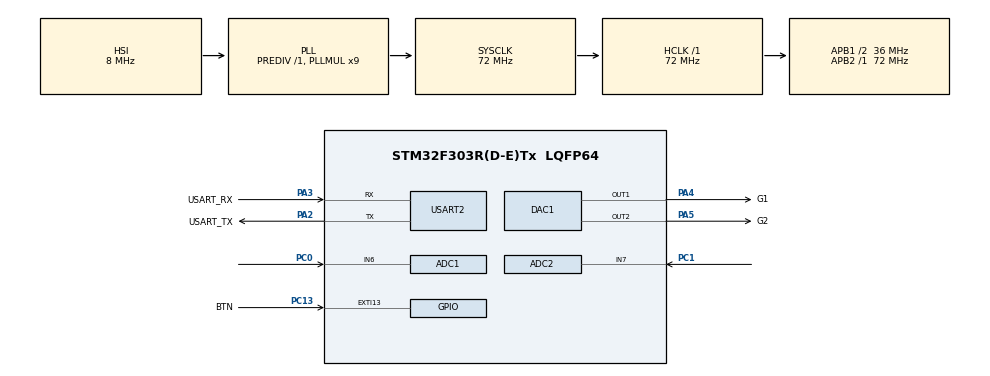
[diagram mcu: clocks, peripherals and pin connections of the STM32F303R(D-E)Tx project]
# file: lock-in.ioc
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ADC1.Channel-1\#ChannelRegularConversion=ADC_CHANNEL_6
ADC1.DMAContinuousRequests=ENABLE
ADC1.ExternalTrigConv=ADC_EXTERNALTRIGCONV_T15_TRGO
ADC1.Mode=ADC_DUALMODE_REGSIMULT_ALTERTRIG
ADC1.NbrOfConversion=1
ADC1.NbrOfConversionFlag=1
ADC1.Offset-1\#ChannelRegularConversion=0
ADC1.OffsetNumber-1\#ChannelRegularConversion=ADC_OFFSET_NONE
ADC1.Rank-1\#ChannelRegularConversion=1
ADC1.SamplingTime-1\#ChannelRegularConversion=ADC_SAMPLETIME_1CYCLE_5
ADC1.master=1
ADC2.Channel-4\#ChannelRegularConversion=ADC_CHANNEL_7
ADC2.Mode=ADC_DUALMODE_REGSIMULT_ALTERTRIG
ADC2.NbrOfConversionFlag=1
ADC2.Offset-4\#ChannelRegularConversion=0
ADC2.OffsetNumber-4\#ChannelRegularConversion=ADC_OFFSET_NONE
ADC2.Rank-4\#ChannelRegularConversion=1
ADC2.SamplingTime-4\#ChannelRegularConversion=ADC_SAMPLETIME_1CYCLE_5
DAC1.DAC_Trigger=DAC_TRIGGER_T6_TRGO
DAC1.DAC_Trigger2=DAC_TRIGGER_T7_TRGO
Dma.ADC1.2.Direction=DMA_PERIPH_TO_MEMORY
Dma.ADC1.2.Instance=DMA1_Channel1
Dma.ADC1.2.MemDataAlignment=DMA_MDATAALIGN_WORD
Dma.ADC1.2.MemInc=DMA_MINC_ENABLE
Dma.ADC1.2.Mode=DMA_CIRCULAR
Dma.ADC1.2.PeriphDataAlignment=DMA_PDATAALIGN_WORD
Dma.ADC1.2.PeriphInc=DMA_PINC_DISABLE
Dma.ADC1.2.Priority=DMA_PRIORITY_LOW
Dma.DAC1_CH1.0.Direction=DMA_MEMORY_TO_PERIPH
Dma.DAC1_CH1.0.Instance=DMA1_Channel3
Dma.DAC1_CH1.0.MemDataAlignment=DMA_MDATAALIGN_HALFWORD
Dma.DAC1_CH1.0.MemInc=DMA_MINC_ENABLE
Dma.DAC1_CH1.0.Mode=DMA_CIRCULAR
Dma.DAC1_CH1.0.PeriphDataAlignment=DMA_PDATAALIGN_HALFWORD
Dma.DAC1_CH1.0.PeriphInc=DMA_PINC_DISABLE
Dma.DAC1_CH1.0.Priority=DMA_PRIORITY_HIGH
Dma.DAC1_CH2.1.Direction=DMA_MEMORY_TO_PERIPH
Dma.DAC1_CH2.1.Instance=DMA1_Channel4
Dma.DAC1_CH2.1.MemDataAlignment=DMA_MDATAALIGN_HALFWORD
Dma.DAC1_CH2.1.MemInc=DMA_MINC_ENABLE
Dma.DAC1_CH2.1.Mode=DMA_CIRCULAR
Dma.DAC1_CH2.1.PeriphDataAlignment=DMA_PDATAALIGN_HALFWORD
Dma.DAC1_CH2.1.PeriphInc=DMA_PINC_DISABLE
Dma.DAC1_CH2.1.Priority=DMA_PRIORITY_HIGH
Dma.Request0=DAC1_CH1
Dma.Request1=DAC1_CH2
Dma.Request2=ADC1
Mcu.Family=STM32F3
Mcu.Name=STM32F303R(D-E)Tx
Mcu.Package=LQFP64
NVIC.ADC1_2_IRQn=true\:0\:0\:false\:false\:true\:true\:true
NVIC.DMA1_Channel1_IRQn=true\:0\:0\:false\:false\:true\:false\:true
NVIC.DMA1_Channel3_IRQn=true\:0\:0\:false\:false\:true\:false\:true
NVIC.DMA1_Channel4_IRQn=true\:0\:0\:false\:false\:true\:false\:true
NVIC.EXTI15_10_IRQn=true\:0\:0\:false\:false\:true\:true\:true
NVIC.PriorityGroup=NVIC_PRIORITYGROUP_0
NVIC.TIM1_BRK_TIM15_IRQn=true\:0\:0\:false\:false\:true\:true\:true
NVIC.TIM6_DAC_IRQn=true\:0\:0\:false\:false\:true\:true\:true
NVIC.TIM7_IRQn=true\:0\:0\:false\:false\:true\:true\:true
NVIC.USART2_IRQn=true\:0\:0\:false\:false\:true\:true\:true
PA13.GPIO_Label=TMS
PA13.Mode=Serial_Wire
PA13.Signal=SYS_JTMS-SWDIO
PA14.GPIO_Label=TCK
PA14.Mode=Serial_Wire
PA14.Signal=SYS_JTCK-SWCLK
PA2.GPIO_Label=USART_TX
PA2.GPIO_Mode=GPIO_MODE_AF_PP
PA2.GPIO_PuPd=GPIO_NOPULL
PA2.GPIO_Speed=GPIO_SPEED_FREQ_LOW
PA2.Mode=Asynchronous
PA2.Signal=USART2_TX
PA3.GPIO_Label=USART_RX
PA3.GPIO_Mode=GPIO_MODE_AF_PP
PA3.GPIO_PuPd=GPIO_NOPULL
PA3.GPIO_Speed=GPIO_SPEED_FREQ_LOW
PA3.Mode=Asynchronous
PA3.Signal=USART2_RX
PA4.GPIO_Label=G1
PA4.Signal=COMP_DAC11_group
PA5.GPIO_Label=G2
PA5.Signal=COMP_DAC12_group
PB3.GPIO_Label=SWO
PB3.Signal=SYS_JTDO-TRACESWO
PC0.Signal=ADCx_IN6
PC1.Signal=ADCx_IN7
PC13.GPIO_Label=BTN
PC13.Signal=GPXTI13
PC14-OSC32_IN.Mode=LSE-External-Oscillator
PC14-OSC32_IN.Signal=RCC_OSC32_IN
PC15-OSC32_OUT.Mode=LSE-External-Oscillator
PC15-OSC32_OUT.Signal=RCC_OSC32_OUT
PF0-OSC_IN.Mode=HSE-External-Clock-Source
PF0-OSC_IN.Signal=RCC_OSC_IN
PF1-OSC_OUT.Signal=RCC_OSC_OUT
ProjectManager.HeapSize=0x200
ProjectManager.StackSize=0x400
ProjectManager.TargetToolchain=STM32CubeIDE
RCC.AHBFreq_Value=72000000
RCC.APB1CLKDivider=RCC_HCLK_DIV2
RCC.APB1Freq_Value=36000000
RCC.APB1TimFreq_Value=72000000
RCC.APB2Freq_Value=72000000
RCC.APB2TimFreq_Value=72000000
RCC.CortexFreq_Value=72000000
RCC.HCLKFreq_Value=72000000
RCC.HSE_VALUE=8000000
RCC.HSI_VALUE=8000000
RCC.PLLM=8
RCC.PLLMUL=RCC_PLL_MUL9
RCC.PLLN=336
RCC.PLLP=RCC_PLLP_DIV4
RCC.PLLQ=7
RCC.RCC_PLLsource_Clock_Source_FROM_HSE=RCC_HSE_PREDIV_DIV2
RCC.SYSCLKFreq_VALUE=72000000
RCC.SYSCLKSourceVirtual=RCC_SYSCLKSOURCE_PLLCLK
RCC.USBFreq_Value=72000000
SH.ADCx_IN6.0=ADC1_IN6,IN6-Single-Ended
SH.ADCx_IN7.0=ADC2_IN7,IN7-Single-Ended
SH.COMP_DAC11_group.0=DAC1_OUT1,DAC_OUT1
SH.COMP_DAC12_group.0=DAC1_OUT2,Enable_DAC_OUT2
TIM15.AutoReloadPreload=TIM_AUTORELOAD_PRELOAD_ENABLE
TIM15.Period=500
TIM15.TIM_MasterOutputTrigger=TIM_TRGO_UPDATE
TIM6.Period=0x7FF
TIM6.TIM_MasterOutputTrigger=TIM_TRGO_UPDATE
TIM7.Period=0x7FF
TIM7.TIM_MasterOutputTrigger=TIM_TRGO_UPDATE
USART2.VirtualMode-Asynchronous=VM_ASYNC
VP_TIM15_VS_ClockSourceINT.Mode=Internal
VP_TIM6_VS_ClockSourceINT.Mode=Enable_Timer
VP_TIM7_VS_ClockSourceINT.Mode=Enable_Timer
board=NUCLEO-F303RE

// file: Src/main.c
/* USER CODE BEGIN Header */
/**
  ******************************************************************************
  * @file           : main.c
  * @brief          : Main program body
  ******************************************************************************
  * @attention
  *
  * <h2><center>&copy; Copyright (c) 2020 STMicroelectronics.
  * All rights reserved.</center></h2>
  *
  * This software component is licensed by ST under BSD 3-Clause license,
  * the "License"; You may not use this file except in compliance with the
  * License. You may obtain a copy of the License at:
  *                        opensource.org/licenses/BSD-3-Clause
  *
  ******************************************************************************
  */
/* USER CODE END Header */

#include "main.h"
#include "adc.h"
#include "dac.h"
#include "dma.h"
#include "tim.h"
#include "usart.h"
#include "gpio.h"

/* USER CODE BEGIN Includes */
#define LINESIZE 100
#define rx_buffer_size 100
#define BUF 32
#include "tables.h"
#include <stdarg.h>
#include <stdlib.h>
#include <stdio.h>
#include <stdarg.h>
#include <string.h>
/* USER CODE END Includes */

void SystemClock_Config(void);

/* USER CODE BEGIN 0 */
uint32_t genFreq [2];
uint32_t sweepFreq [4];
uint16_t genBuffer1[4096];
uint16_t genBuffer2[4096];
uint16_t bufferSize1=BUF; // 1256
uint16_t bufferSize2=16;
uint8_t Rx_data ;
char Rx_Buffer [rx_buffer_size];
uint8_t Rx_indx = 0;
uint16_t prescaler0[2];
uint16_t autoReloadReg0[2];
uint16_t prescaler1[2];
uint16_t autoReloadReg1[2];
uint16_t autoReloadReg=10000;
uint16_t autoReloadRegX=10000;
uint16_t prescaler=0;

uint16_t fstep0=1;
uint16_t fstep1=1;
uint16_t sweepPathPos0=0;
uint16_t sweepPathPos1=0;
uint16_t sweepPathPos0stop=1;
uint16_t sweepPathPos1stop=1;
uint16_t offset0=0;
uint16_t offset1=0;
uint32_t realFreq1,realFreq2,realSampling;
uint32_t frek ;
uint32_t posun ;
double ref1;
double dut;
double ref2;
int32_t mref1=0;
int32_t mdut=0;
double gmref1=1.6;
double gmdut=1.6;
double mref2;
double X;
double Y;
double scale0=1.0;
double scale1=1.0;
volatile  uint8_t Transfer_cplt =0;
volatile uint8_t start = 0;
volatile uint8_t measuring = 0;
volatile uint8_t stop = 0;
volatile uint8_t step = 0;
volatile uint8_t freq = 0;
volatile uint8_t freqstart = 0;
volatile uint8_t freqstop = 0;
volatile uint8_t channel = 0;
volatile double xf=0;
volatile double yf=0;
volatile uint8_t upDown = 0;
volatile uint8_t sweep = 0;
volatile uint8_t togglesweep = 0;
volatile uint8_t sweep0 = 0;
volatile uint8_t sweep1 = 0;
volatile uint8_t posintable0 =0;
volatile uint8_t posintable1 =0;
volatile uint8_t positino0 =0;
volatile uint8_t positino1 =0;
volatile uint8_t ampl=0;
volatile uint8_t off=0;
volatile uint8_t adcintcounter=1;
volatile uint8_t adcintcountercheck=0;
volatile uint8_t adcenabled=1;
volatile uint8_t sin_square=1;

volatile uint8_t dataready = 0;
volatile uint8_t setfilter = 0;
volatile uint8_t printData = 0;
volatile uint8_t measure = 0;
volatile uint8_t samplerate = 0;
volatile uint8_t complete = 0;
volatile uint8_t half= 0;
volatile uint8_t transmitdone=0;
volatile uint8_t samplecounter=0;
volatile uint8_t firstsample = 0;
int samples = 4096;
int adcsamples=8;
int command = 0;
uint32_t data[10000];
float send [2];
double A = 0.001;

typedef struct PSARRFREQ {
	uint16_t prescaler;
	uint16_t autoReloadReg;
	uint32_t freq;
} PSARRFREQ;

PSARRFREQ pafa0 [LINESIZE];
PSARRFREQ pafa1 [LINESIZE];

uint8_t timReconfigure(TIM_HandleTypeDef* htim_base, uint32_t periphClock,
		uint32_t samplingFreq, uint32_t* realFreq, uint8_t isFreqPassed) {

	int32_t clkDiv;
	uint32_t errMinRatio = 0;
	uint8_t result = 1;
	uint16_t prescaler=0;
	uint16_t autoReloadReg;

	if (isFreqPassed == 1) {
		clkDiv = ((2 * periphClock / samplingFreq) + 1) / 2; //to minimize rounding error
	} else {
		clkDiv = samplingFreq;
	}

	if (clkDiv == 0) { //error
		result = 1;
	} else if (clkDiv <= 0x0FFFF) { //Sampling frequency is high enough so no prescaler needed
		prescaler = 0;
		autoReloadReg = clkDiv - 1;
		result = 0;
	} else {	// finding prescaler and autoReload value
		uint32_t errVal = 0xFFFFFFFF;
		uint32_t errMin = 0xFFFFFFFF;
		uint16_t ratio = clkDiv >> 16;
		uint16_t div;

		while (errVal != 0) {
			ratio++;
			div = clkDiv / ratio;
			errVal = clkDiv - (div * ratio);

			if (errVal < errMin) {
				errMin = errVal;
				errMinRatio = ratio;
			}

			if (ratio == 0xFFFF) { //exact combination wasnt found. we use best found
				div = clkDiv / errMinRatio;
				ratio = errMinRatio;
				break;
			}
		}

		//if (ratio > div) {
			prescaler = div - 1;
			autoReloadReg = ratio - 1;
		//} else {
		//	prescaler = ratio - 1;
		//	autoReloadReg = div - 1;
		//}

		if (errVal) {
			result = 1;
		} else {
			result = 0;
		}
	}

	if (realFreq != 0) {
		*realFreq = periphClock / ((prescaler + 1) * (autoReloadReg + 1));
	}

	htim_base->Instance->PSC = prescaler;
	htim_base->Instance->ARR = autoReloadReg;

	SET_BIT(htim_base->Instance->EGR, TIM_EGR_UG);
	return (result);
}
uint8_t timReconfigureForGenerator(uint32_t samplingFreq,uint8_t chan,uint32_t* realFreq){
	/* RCC_PERIPHCLK_TIM6 and TIM7 defines missing in order to use with HAL_RCCEx_GetPeriphCLKFreq fun */
	uint32_t periphClock = HAL_RCC_GetPCLK1Freq()*2;
	if(chan==0){
		return (timReconfigure(&htim6,periphClock,samplingFreq,realFreq,1));
	}else if(chan==1){
		return (timReconfigure(&htim7,periphClock,samplingFreq,realFreq,1));
	}else{
		return (0);
	}
}
PSARRFREQ setFreq(uint32_t samplingFreq) {
	int32_t clkDiv;
	uint32_t errMinRatio = 0;

	uint16_t prescaler=0;
	uint16_t autoReloadReg;
	PSARRFREQ pafa;
	uint32_t periphClock = HAL_RCC_GetPCLK1Freq()*2;
	clkDiv = ((2 * periphClock / samplingFreq) + 1) / 2; //to minimize rounding error
	if (clkDiv == 0) { //error

	} else if (clkDiv <= 0x0FFFF) { //Sampling frequency is high enough so no prescaler needed
		prescaler = 0;
		autoReloadReg = clkDiv - 1;

		pafa.autoReloadReg = autoReloadReg;
		pafa.prescaler =prescaler;
		pafa.freq =samplingFreq;
	} else {	// finding prescaler and autoReload value
		uint32_t errVal = 0xFFFFFFFF;
		uint32_t errMin = 0xFFFFFFFF;
		uint16_t ratio = clkDiv >> 16;
		uint16_t div;

		while (errVal != 0) {
			ratio++;
			div = clkDiv / ratio;
			errVal = clkDiv - (div * ratio);

			if (errVal < errMin) {
			errMin = errVal;
			errMinRatio = ratio;
			}

			if (ratio == 0xFFFF) { //exact combination wasnt found. we use best found
			div = clkDiv / errMinRatio;
			ratio = errMinRatio;
			break;
			}
		}

	//	if (ratio > div) {
			prescaler = div - 1;
			autoReloadReg = ratio - 1;
	//	} else {
	//		prescaler = ratio - 1;
	//		autoReloadReg = div - 1;
	//	}
		pafa.autoReloadReg = autoReloadReg;
		pafa.prescaler =prescaler;
		pafa.freq =samplingFreq;
	}
	return (pafa);
}
int setPath(uint32_t minF,uint32_t maxF,uint16_t step,uint16_t size,int channel){
	if(channel==0){
		if(step==0 && size!=0){
			uint32_t freq;
			uint16_t index = 0;
			freq = minF;
			step = (uint16_t)((maxF*1.0-minF*1.0)/(size*1.0));
			while(index<=size&& index<=LINESIZE){
				pafa0[index] = setFreq(freq);
				freq+=step;
				index++;
			}
			return (--index);
		}else if (step!=0 && size==0){
			uint32_t freq;
			uint16_t index = 0;
			freq = minF;
			PSARRFREQ temp;
			while(freq < maxF-step && index<=LINESIZE){
				temp = setFreq(freq);
				pafa0[index].autoReloadReg = temp.autoReloadReg;
				pafa0[index].prescaler = temp.prescaler;
				pafa0[index].freq = temp.freq;
				freq+=step;
				index++;
			}
			return (--index);
		}else{
			return (-1);
		}
	}
	if(channel==1){
		if(step==0 && size!=0){
			uint32_t freq;
			uint16_t index = 0;
			freq = minF;
			step = (uint16_t)((maxF*1.0-minF*1.0)/(size*1.0));
			while(index<=size&& index<=LINESIZE){
				pafa1[index] = setFreq(freq);
				freq+=step;
				index++;
			}
			return (--index);
		}else if (step!=0 && size==0){
			uint32_t freq;
			uint16_t index = 0;
			freq = minF;
			while(freq < maxF-step && index<=LINESIZE){
				pafa1[index] = setFreq(freq);
				freq+=step;
				index++;
			}
			return (--index);
		}else{
			return (-1);
		}
	}
	return (-1);
}
void buffersInit(const  uint16_t * buf,uint16_t size,double scale,uint16_t offset){
	uint16_t temp;
	if(sin_square==1){
		if(channel==0){
			bufferSize1=size;
			for (int i = 0; i < bufferSize1; ++i) {
				temp=(uint16_t)(buf[i]*scale*1.0)+offset;
				if(temp>4095){
				 genBuffer1[i]=4095;
				}else{
					genBuffer1[i]=temp;
				}
			}
		}
		if(channel==1){
			bufferSize2=size;
			for (int i = 0; i < bufferSize2; ++i) {
				temp=(uint16_t)(buf[i]*scale*1.0)+offset;
				if(temp>4095){
					genBuffer2[i]=4095;
				}else{
					genBuffer2[i]=temp;
				}
			}

		}
	}
	if(sin_square==0){
		if(channel==0){
			bufferSize1=size;
			for (int i = 0; i < bufferSize1; ++i) {
				if(i<bufferSize1/2){
					temp=(uint16_t)offset;
				}else{
					temp=(uint16_t)(4095*scale*1.0)+offset;
				}
				if(temp>4095){
				 genBuffer1[i]=4095;
				}else{
					genBuffer1[i]=temp;
				}
			}
		}
		if(channel==1){
			bufferSize2=size;
			for (int i = 0; i < bufferSize2; ++i) {
				if(i<bufferSize1/2){
					temp=(uint16_t)offset;
				}else{
					temp=(uint16_t)(4095*scale*1.0)+offset;
				}
				if(temp>4095){
					genBuffer2[i]=4095;
				}else{
					genBuffer2[i]=temp;
				}
			}

		}

	}
}
void initBuffers(int size,double scale,uint16_t offset){
	if(scale==0){return ;}
	switch(size){
		case 16 :size = 16;buffersInit(sin_samples16,size,scale,offset);break;
		case 32 :size = 32;buffersInit(sin_samples32,size,scale,offset);break;
		case 64 :size = 64;buffersInit(sin_samples64,size,scale,offset);break;
		case 128 :size = 128;buffersInit(sin_samples128,size,scale,offset);break;
		case 256 :size = 256;buffersInit(sin_samples256,size,scale,offset);break;
		case 512 :size = 512;buffersInit(sin_samples512,size,scale,offset);break;
		case 1024 :size = 1024;buffersInit(sin_samples1024,size,scale,offset);break;
		case 2048 :size = 2048;buffersInit(sin_samples2048,size,scale,offset);break;
		case 4096 :size = 4096;buffersInit(sin_samples4096,size,scale,offset);break;
		default:size = 16;buffersInit(sin_samples16,size,scale,offset);break;
	}
}
int genInit(void)
{
		int status = 0;
		HAL_DAC_Stop_DMA(&hdac1,DAC_CHANNEL_1);
		HAL_DAC_Stop_DMA(&hdac1,DAC_CHANNEL_2);
		status=timReconfigureForGenerator(genFreq[0],0,&realFreq1);
		status=timReconfigureForGenerator(genFreq[1],1,&realFreq2);
		status=HAL_DAC_Start_DMA(&hdac1,DAC_CHANNEL_1, (uint32_t*)genBuffer1,bufferSize1, DAC_ALIGN_12B_R);
		status=HAL_DAC_Start_DMA(&hdac1,DAC_CHANNEL_2, (uint32_t*)genBuffer2,bufferSize2, DAC_ALIGN_12B_R);
		return (status);
}
int genInit0(void)
{
		int status = 0;
		HAL_DAC_Stop_DMA(&hdac1,DAC_CHANNEL_1);
		status=timReconfigureForGenerator(genFreq[0],0,&realFreq1);
		status=HAL_DAC_Start_DMA(&hdac1,DAC_CHANNEL_1, (uint32_t*)genBuffer1,bufferSize1, DAC_ALIGN_12B_R);
		return (status);
}
int genInit1(void)
{
		int status = 0;
		HAL_DAC_Stop_DMA(&hdac1,DAC_CHANNEL_2);
		status=timReconfigureForGenerator(genFreq[1],1,&realFreq2);
		status=HAL_DAC_Start_DMA(&hdac1,DAC_CHANNEL_2, (uint32_t*)genBuffer2,bufferSize2, DAC_ALIGN_12B_R);
		return (status);
}
void DACDisableOutput0(void){
  GPIO_InitTypeDef GPIO_InitStruct;
  GPIO_InitStruct.Pin = G1_Pin;
  GPIO_InitStruct.Mode = GPIO_MODE_INPUT;
  GPIO_InitStruct.Pull = GPIO_NOPULL;
  HAL_GPIO_Init(GPIOA, &GPIO_InitStruct);
}
void DACDisableOutput1(void){
  GPIO_InitTypeDef GPIO_InitStruct;
  GPIO_InitStruct.Pin = G2_Pin;
  GPIO_InitStruct.Mode = GPIO_MODE_INPUT;
  GPIO_InitStruct.Pull = GPIO_NOPULL;
  HAL_GPIO_Init(GPIOA, &GPIO_InitStruct);
}
int genStop0(void)
{
		int status = 0;
		HAL_DAC_Stop_DMA(&hdac1,DAC_CHANNEL_1);
		DACDisableOutput0();
		return (status);
}
int genStop1(void)
{
		int status = 0;
		HAL_DAC_Stop_DMA(&hdac1,DAC_CHANNEL_2);
		DACDisableOutput1();
		return (status);
}

void vprint(const char *fmt, va_list argp)
{
	char string[300];
    if(0 < vsprintf(string,fmt,argp)) // build string
    {
    	//HAL_Delay(10);
        HAL_UART_Transmit(&huart2, (uint8_t*)string, strlen(string),0xFFFFF); // send message via UART
    }
}
void pr(const char *text, ...) // custom print() function
{
	HAL_Delay(10);
    va_list argp;
    va_start(argp, text);
    vprint(text, argp);
    va_end(argp);
}
void setSweepMaxMin(int newinput){
	if(sweep==1 && command==0 && newinput > 0){
		sweep=0;
		sweepFreq[2*channel+upDown]=newinput*bufferSize1;
		pr("%d\n\r",newinput);
	}
}

void printADCOut(){
	//send[0]=(float)xf;
	//send[1]=(float)yf;
	//HAL_UART_Transmit(&huart2, (uint8_t*)(&send), 8,0xFFFFF);

	if(dataready==0){
		pr("DNR\n\r");
	}
	if(dataready==2){
		dataready = 0;
		HAL_Delay(10);
		HAL_UART_Transmit(&huart2, (uint8_t*)(&data), samples*4,0xFFFF);
	}
	if(dataready==1){
		pr("MD\n\r");
		dataready = 2;
	}

}
uint16_t selectBufferSize(uint32_t frequency){
	uint16_t option = 4096;
	for (uint i = 1255;i<=321280;i=i*2){
		option=option/2;
		if(frequency<i*2&&i<frequency){
			return (option/2);
		}

	}
	return (4096);
}
void setAmpl(int newinput){
	if(ampl==1 && command==0 && newinput > 0){
		ampl=0;
		if(channel==0){
			scale0 = (double)(newinput/100.0);
			if(scale0>=100.0){
				scale0=100.0;
			}
			HAL_DAC_Stop_DMA(&hdac1,DAC_CHANNEL_1);
			uint16_t temparr = htim6.Instance->ARR;
			uint16_t temppsc = htim6.Instance->PSC;
			htim6.Instance->ARR = 3999;
			htim6.Instance->PSC = 9;
			initBuffers(bufferSize1, scale0, offset0);
			HAL_DAC_Start_DMA(&hdac1,DAC_CHANNEL_1, (uint32_t*)genBuffer1,bufferSize1, DAC_ALIGN_12B_R);
			htim6.Instance->ARR = temparr;
			htim6.Instance->PSC = temppsc;
			pr("%d\n\r",newinput);
		}
		if(channel==1){
			scale1 =  (double)(newinput/100.0);
			if(scale1>=100.0){
				scale1=100.0;
			}
			HAL_DAC_Stop_DMA(&hdac1,DAC_CHANNEL_2);
			uint16_t temparr = htim7.Instance->ARR;
			uint16_t temppsc = htim7.Instance->PSC;
			htim7.Instance->ARR = 3999;
			htim7.Instance->PSC = 9;
			initBuffers(bufferSize2, scale1, offset1);
			HAL_DAC_Start_DMA(&hdac1,DAC_CHANNEL_2, (uint32_t*)genBuffer2,bufferSize2, DAC_ALIGN_12B_R);
			htim7.Instance->ARR = temparr;
			htim7.Instance->PSC = temppsc;
			pr("%d\n\r",newinput);
		}
	}
}

void setFiltr(int newinput){
	if(setfilter==1 && command==0 && newinput > 0){
		setfilter=0;
		A = ((double)newinput)/100000.0;
		pr("%.6f\n\r",(float)A);
	}
}
void setFrequency(int newinput){
	if(freq==1 && command==0 && newinput > 0){
		freq=0;
		if(channel==0){
			sweep0=0;
			HAL_DAC_Stop_DMA(&hdac1,DAC_CHANNEL_1);

			htim6.Instance->ARR = 3999;
			htim6.Instance->PSC = 9;
			bufferSize1 = selectBufferSize(newinput);
			initBuffers(bufferSize1, scale0, offset0);
			genFreq[0]=newinput*bufferSize1;
			posintable0=0;
			posintable1=0;
			timReconfigureForGenerator(genFreq[0],0,&realFreq1);
			HAL_DAC_Start_DMA(&hdac1,DAC_CHANNEL_1, (uint32_t*)genBuffer1,bufferSize1, DAC_ALIGN_12B_R);
			pr("%.5f\n",(float)realFreq1/(float)bufferSize1);
			//pr("%d\n\r",newinput);
			//setAmpl(scale0);
		}
		if(channel==1){
			sweep1=0;
			HAL_DAC_Stop_DMA(&hdac1,DAC_CHANNEL_2);
			htim7.Instance->ARR = 3999;
			htim7.Instance->PSC = 9;
			bufferSize2 = selectBufferSize(newinput);
			initBuffers(bufferSize2, scale1, offset1);
			genFreq[1]=newinput*bufferSize2;
			posintable0=0;
			posintable1=0;
			HAL_DAC_Start_DMA(&hdac1,DAC_CHANNEL_2, (uint32_t*)genBuffer2,bufferSize2, DAC_ALIGN_12B_R);
			timReconfigureForGenerator(genFreq[1],1,&realFreq2);
			//pr("%d\n\r",newinput);
			pr("%.5f\n",(float)realFreq2/(float)bufferSize2);
		}
	}
}
void setStep(int newinput){
	if(step==1 && command==0 && newinput > 0){
		step=0;
		if(channel==0){
			fstep0 = newinput*bufferSize1;
			pr("%d\n\r",newinput);
		}
		if(channel==1){
			fstep1 = newinput*bufferSize2;
			pr("%d\n\r",newinput);
		}
	}
}
void setSampleRate(int newinput){
	if(samplerate==1 && command==0 && newinput > 0){
		samplerate=0;
		adcsamples = newinput;
		pr("%d\n\r",adcsamples);
	}
}
void setOffset(int newinput){
	if(off==1 && command==0 && newinput > 0){
		off=0;
		if(newinput ==5000)
			newinput =0;
		if(channel==0){
			offset0 = newinput;
			uint32_t temparr = htim6.Instance->ARR;
			uint32_t temppsc = htim6.Instance->PSC;
			htim6.Instance->ARR = 3999;
			htim6.Instance->PSC = 9;
			HAL_DAC_Stop_DMA(&hdac1,DAC_CHANNEL_1);
			initBuffers(bufferSize1, scale0, offset0);
			HAL_DAC_Start_DMA(&hdac1,DAC_CHANNEL_1, (uint32_t*)genBuffer1,bufferSize1, DAC_ALIGN_12B_R);
			htim6.Instance->ARR = temparr;
			htim6.Instance->PSC = temppsc;
			pr("%d\n\r",newinput);
		}
		if(channel==1){
			offset1 = newinput;
			HAL_DAC_Stop_DMA(&hdac1,DAC_CHANNEL_2);
			uint32_t temparr = htim7.Instance->ARR;
			uint32_t temppsc = htim7.Instance->PSC;
			htim7.Instance->ARR = 3999;
			htim7.Instance->PSC = 9;
			initBuffers(bufferSize2, scale1, offset1);
			HAL_DAC_Start_DMA(&hdac1,DAC_CHANNEL_2, (uint32_t*)genBuffer2,bufferSize2, DAC_ALIGN_12B_R);
			htim7.Instance->ARR = temparr;
			htim7.Instance->PSC = temppsc;
			pr("%d\n\r",newinput);
		}
	}
}
void sweepUpdate(){
	if(sweep0==1){
		htim6.Instance->ARR = pafa0[sweepPathPos0].autoReloadReg;
		htim6.Instance->PSC = pafa0[sweepPathPos0].prescaler;
		if(sweepPathPos0stop>sweepPathPos0){
			sweepPathPos0++;
		}else{
			sweepPathPos0=0;
		}
	}
	if(sweep1==1){
		htim7.Instance->ARR = pafa1[sweepPathPos1].autoReloadReg;
		htim7.Instance->PSC = pafa1[sweepPathPos1].prescaler;
		if(sweepPathPos1stop>sweepPathPos1){
			sweepPathPos1++;
		}else{
			sweepPathPos1=0;
		}
	}
}

void toggleSweep(){
	if(togglesweep==1){
		togglesweep=0;
		if(channel==0){
			if(sweep0==0){

				sweepPathPos0=0;
				sweepPathPos0stop=setPath(sweepFreq[0], sweepFreq[1], fstep0, 0, 0);
				sweep0=1;
			}
			else if(sweep0==1)
				sweep0=0;
		}
		if(channel==1){
			if(sweep1==0){

				sweepPathPos1=0;
				sweepPathPos1stop=setPath(sweepFreq[2], sweepFreq[3], fstep1, 0, 1);
				sweep1=1;
			}
			else if(sweep1==1)
				sweep1=0;
		}
	}
}
int compare_strings(char a[], char b[])
{
   int c = 0;

   while (a[c] == b[c]) {
      if (a[c] == '\n' || b[c] == '\n')
         break;
      c++;
   }

   if (a[c] == '\n' && b[c] == '\n')
      return (0);
   else
      return (-1);
}
int getRequest(){
	char buf1 [5] = {'I','D','N','?','\n'};
	char buf2 [5] = {'V','E','R','?','\n'};
	char buf3 [5] = {'F','R','Q','?','\n'};
	char buf4 [5] = {'F','R','Q','!','\n'};
	char buf5 [6] = {'S','T','A','R', 'T','\n'};
	char buf6 [5] = {'S','T','O','P','\n'};
	char buf7 [2] = {'0','\n'};
	char buf8 [2] = {'1','\n'};
	char buf9 [5] = {'S','W','E','P','\n'};
	char buf10 [2] = {'D','\n'};
	char buf11 [2] = {'U','\n'};
	char buf12 [6] = {'S','W','E','P','S','\n'};
	char buf13 [5] = {'S','T','E','P','\n'};
	char buf14 [5] = {'A','M','P','L','\n'};
	char buf15 [5] = {'O','F','F','S','\n'};
	char buf16 [5] = {'D','A','T','A','\n'};
	char buf17 [5] = {'M','E','A','S','\n'};
	char buf18 [5] = {'S','A','M','P','\n'};
	char buf19 [5] = {'F','I','L','T','\n'};
	char buf20 [5] = {'S','I','N','S','\n'};

	if(compare_strings(buf1,Rx_Buffer)==0){
		command = 0;
		return (1);
	}
	if(compare_strings(buf2,Rx_Buffer)==0){
		command = 0;
		return (2);
	}
	if(compare_strings(buf3,Rx_Buffer)==0){
		command = 0;
		return (3);
	}
	if(compare_strings(buf4,Rx_Buffer)==0){
		command = 1;
		freq=1;
		return (4);
	}
	if(compare_strings(buf5,Rx_Buffer)==0){
		command = 1;
		start = 1;
		return (5);
	}
	if(compare_strings(buf6,Rx_Buffer)==0){
		command = 1;
		stop= 1;
		return (6);
	}
	if(compare_strings(buf7,Rx_Buffer)==0 && command==1){
		command = 0;
		channel=0;
		return (7);
	}
	if(compare_strings(buf8,Rx_Buffer)==0 && command==1){
		command = 0;
		channel=1;
		return (8);
	}
	if(compare_strings(buf9,Rx_Buffer)==0){
		command = 1;
		sweep = 1;
		return (9);
	}
	if(compare_strings(buf10,Rx_Buffer)==0 && sweep ==1){
		command = 0;
		upDown=0;
		return (7);
	}
	if(compare_strings(buf11,Rx_Buffer)==0  && sweep ==1){
		command = 0;
		upDown=1;
		return (8);
	}
	if(compare_strings(buf12,Rx_Buffer)==0 ){
		command = 1;
		if(togglesweep==0){
			togglesweep=1;
		}
		return (9);
	}
	if(compare_strings(buf13,Rx_Buffer)==0){
			command = 1;
			step = 1;
			return (10);
	}
	if(compare_strings(buf14,Rx_Buffer)==0){
			command = 1;
			ampl = 1;
			return (11);
	}
	if(compare_strings(buf15,Rx_Buffer)==0){
			command = 1;
			off = 1;
			return (12);
	}
	if(compare_strings(buf16,Rx_Buffer)==0){
			printData = 1;
			return (13);
	}
	if(compare_strings(buf17,Rx_Buffer)==0){
			measure = 1;
			return (14);
	}
	if(compare_strings(buf18,Rx_Buffer)==0){
			command = 0;
			samplerate = 1;
			return (15);
	}
	if(compare_strings(buf19,Rx_Buffer)==0){
			command = 0;
			setfilter = 1;
			return (15);
	}
	if(compare_strings(buf20,Rx_Buffer)==0){
			command = 0;
			if(sin_square==1)
			sin_square = 0;
			else
			sin_square = 1;
			return (16);
	}
	command = 0;
	return (0);
}

void HAL_UART_RxCpltCallback(UART_HandleTypeDef *huart) // @suppress("Name convention for function")
{
        if (huart->Instance == USART2){ // Current UART
		if (Rx_indx + 1 > rx_buffer_size){
			Rx_indx = 0;
		}
        if (Rx_data != 0x0A){ // If received data different from LF
        	Rx_Buffer[Rx_indx++] = Rx_data;    // Add data to Rx_Buffer
		}
		else {
			Rx_Buffer[Rx_indx++] = '\n';
			Rx_indx = 0;
			Transfer_cplt++;//transfer complete, data is ready to read
		}
		HAL_UART_Receive_IT(&huart2, &Rx_data, 1);   //activate UART receive interrupt every time
	}
}
void changeSamplingTime(uint32_t frek){
	uint32_t out = ADC_SAMPLETIME_1CYCLE_5 ;
	switch(frek){
		case 0       ... 117532: out = ADC_SAMPLETIME_601CYCLES_5;break;
		case 117533  ... 371984: out = ADC_SAMPLETIME_181CYCLES_5;break;
		case 371985  ... 975202: out = ADC_SAMPLETIME_61CYCLES_5;break;
		case 975203  ... 2255154:out = ADC_SAMPLETIME_19CYCLES_5;break;
		case 2255155 ... 3608247:out = ADC_SAMPLETIME_7CYCLES_5;break;
		case 3608248 ... 4244997:out = ADC_SAMPLETIME_4CYCLES_5;break;
		case 4244998 ... 4810996:out = ADC_SAMPLETIME_2CYCLES_5;break;
		case 4810997 ... 5154639:out = ADC_SAMPLETIME_1CYCLE_5;break;
		default:				 out = ADC_SAMPLETIME_1CYCLE_5;break;
	}
	ADC_ChannelConfTypeDef sConfig = {0};
	sConfig.Channel = ADC_CHANNEL_7;
	sConfig.Rank = ADC_REGULAR_RANK_1;
	sConfig.SingleDiff = ADC_SINGLE_ENDED;
	sConfig.SamplingTime = out;
	sConfig.OffsetNumber = ADC_OFFSET_NONE;
	sConfig.Offset = 0;
	if (HAL_ADC_ConfigChannel(&hadc2, &sConfig) != HAL_OK)
	{
		Error_Handler();
	}
	sConfig.Channel = ADC_CHANNEL_6;
	sConfig.Rank = ADC_REGULAR_RANK_1;
	sConfig.SingleDiff = ADC_SINGLE_ENDED;
	sConfig.SamplingTime = out;
	sConfig.OffsetNumber = ADC_OFFSET_NONE;
	sConfig.Offset = 0;
	if (HAL_ADC_ConfigChannel(&hadc1, &sConfig) != HAL_OK)
	{
		Error_Handler();
	}
}
void setADC(uint32_t samplesPerPeriod){
	frek = (uint32_t)(realFreq1*1.0/bufferSize1);
	//HAL_ADCEx_MultiModeStart_DMA(&hadc1,(uint32_t*)&data,samples);
	int status;
	//MX_ADC1_Init();
//	MX_ADC2_Init();
	posun = samplesPerPeriod>>2;
	uint32_t periphClock = HAL_RCCEx_GetPeriphCLKFreq(RCC_PERIPHCLK_TIM15);
	if(adcintcounter==0){
		status = HAL_ADCEx_MultiModeStop_DMA(&hadc1);
		status = HAL_ADC_Init(&hadc1);
		status = HAL_ADC_Stop_IT(&hadc2);
		HAL_TIM_Base_Start(&htim15);
	}

	status = timReconfigure(&htim15,periphClock,frek*samplesPerPeriod,&realSampling,1);
	changeSamplingTime(frek*samplesPerPeriod);
    HAL_TIM_Base_MspInit(&htim15);
	int a = 10000/samplesPerPeriod;
	samples=(a-1)*(samplesPerPeriod);
	status = HAL_ADC_Start(&hadc2);
	if (status == 2){
		HAL_ADC_Stop(&hadc2);
		status = HAL_ADC_Start(&hadc2);
	}

	//HAL_TIM_Base_Start_IT(&htim15);
	status = HAL_TIM_Base_Start(&htim15);
	complete=0;
	firstsample=0;
	SET_BIT(hadc1.Instance->CFGR, ADC_CFGR_DMAEN);
	status = HAL_ADCEx_MultiModeStart_DMA(&hadc1,(uint32_t*)&data,samples);
	if (status == 2){
		status = HAL_ADCEx_MultiModeStop_DMA(&hadc1);
		status = HAL_ADCEx_MultiModeStart_DMA(&hadc1,(uint32_t*)&data,samples);
	}
	adcintcounter = 0;
}

void  HAL_ADC_ConvHalfCpltCallback(ADC_HandleTypeDef* hadc){ // @suppress("Name convention for function")
	if(hadc != &hadc1)
			return;
}

void HAL_ADC_ConvCpltCallback(ADC_HandleTypeDef* hadc){ // @suppress("Name convention for function")
	if(hadc != &hadc1)
			return;
	//HAL_ADC_Stop(&hadc2);
	//
	complete=1;
	adcintcounter++;
	HAL_ADCEx_MultiModeStop_DMA(&hadc1);
	HAL_ADC_Init(&hadc1);
	HAL_ADC_Stop_IT(&hadc2);
	HAL_TIM_Base_Start(&htim15);
	dataready=1;
	//HAL_UART_Receive_IT(&huart2, &Rx_data, 1);

}

/* USER CODE END 0 */

int main(void)
{
  /* USER CODE BEGIN 1 */

	genFreq[0]=1000;
	genFreq[1]=1000;
  /* USER CODE END 1 */

  /* MCU Configuration--------------------------------------------------------*/

  /* Reset of all peripherals, Initializes the Flash interface and the Systick. */
  HAL_Init();

  /* Configure the system clock */
  SystemClock_Config();

  /* Initialize all configured peripherals */
  MX_GPIO_Init();
  MX_DMA_Init();
  MX_USART2_UART_Init();
  MX_DAC1_Init();
  MX_TIM6_Init();
  MX_TIM7_Init();
  MX_ADC1_Init();
  MX_ADC2_Init();
  MX_TIM15_Init();
  /* USER CODE BEGIN 2 */
  initBuffers(BUF,1,0);
  channel=1;
  initBuffers(16,0.7,150);
  channel=0;

	HAL_NVIC_SetPriority(USART2_IRQn, 0, 0);
	HAL_NVIC_EnableIRQ(USART2_IRQn);
	//HAL_NVIC_SetPriority(TIM6_DAC_IRQn, 2, 0);
	//HAL_NVIC_EnableIRQ(TIM6_DAC_IRQn);
	//HAL_NVIC_SetPriority(TIM7_IRQn, 0, 0);
	//HAL_NVIC_EnableIRQ(TIM7_IRQn);

	HAL_NVIC_SetPriority(TIM1_UP_TIM16_IRQn, 3, 0);
	HAL_NVIC_EnableIRQ(TIM1_UP_TIM16_IRQn);

	HAL_UART_Receive_IT(&huart2, &Rx_data, 1);

	//genInit();
	//HAL_TIM_Base_Start_IT(&htim6);
	HAL_TIM_Base_Start(&htim6);
	HAL_TIM_Base_MspInit(&htim6);
	//HAL_TIM_Base_Start_IT(&htim7);
	HAL_TIM_Base_Start(&htim7);
	HAL_TIM_Base_MspInit(&htim7);
	timReconfigureForGenerator(genFreq[0],0,&realFreq1);
	timReconfigureForGenerator(genFreq[1],1,&realFreq2);

	htim6.Instance->ARR = autoReloadReg;
	htim6.Instance->PSC = prescaler;
	SET_BIT(htim6.Instance->EGR, TIM_EGR_UG);
	htim7.Instance->ARR = autoReloadReg;
	htim7.Instance->PSC = prescaler;
	SET_BIT(htim7.Instance->EGR, TIM_EGR_UG);
	for (int i = 0 ;  i < 4096;i++){
		data[i]=0;
	}

	HAL_ADCEx_Calibration_Start(&hadc1,ADC_SINGLE_ENDED);
	HAL_ADCEx_Calibration_Start(&hadc2,ADC_SINGLE_ENDED);

  /* USER CODE END 2 */

  /* Infinite loop */
  /* USER CODE BEGIN WHILE */
	//uint16_t wgd = 0;
  while (1)
  {
    /* USER CODE END WHILE */

    /* USER CODE BEGIN 3 */

	HAL_Delay(1);
	//wgd++;
	//if(wgd>1500){
	//	wgd=0;
	//	HAL_UART_Receive_IT(&huart2, &Rx_data, 1);
	//}
	if(complete==1){

//		status = HAL_ADCEx_InjectedStop(&hadc1);
//		status = HAL_ADC_Stop_DMA(&hadc1) ;
//		status = HAL_ADCEx_MultiModeStop_DMA(&hadc1);
//		status = HAL_ADC_Stop_DMA(&hadc2) ;
//		status = HAL_ADC_Stop(&hadc2);
//		status = HAL_ADC_Stop(&hadc1);

	//	HAL_DMA_DeInit(&hdma_adc1);
		//CLEAR_BIT(hadc2.Instance->CFGR, ADC_CFGR_DMAEN);
		//HAL_ADC_Init(&hadc1);
		//HAL_ADC_Init(&hadc2);
		complete=0;
	}
/*
	if(complete){
		transmitdone=0;
		complete=0;
		//HAL_ADCEx_MultiModeStop_DMA(&hadc1);
		//HAL_Delay(10);
		//HAL_ADCEx_MultiModeStop_DMA(&hadc1);
		HAL_UART_Transmit(&huart2, (uint8_t*)(&data), samples*4,0xFFFF);
		measuring=0;

			mref1=0;
			mdut=0;
			for (int i = 0;  i < samples; i++) {
				mref1 += ((uint16_t)data[i]&0x0000FFFF);
				mdut += ((uint16_t)(data[i]>>16)&0x0000FFFF);
			}
			mref1 = (int32_t) mref1/(double)(samples);
			mdut= (int32_t) mdut/(double)(samples);
			double a = 3.3/4096;
			for (int i = posun;  i < samples; i++) {
				ref1 = (((uint16_t)data[i]&0x0000FFFF))-mref1;
				dut = (((uint16_t)(data[i]>>16)&0x0000FFFF))-mdut;
				ref2 = (((uint16_t)data[i-posun]&0x0000FFFF))-mref1;
				ref1=ref1*a;
				dut=dut*a;
				ref2=ref2*a;
				X = ((double)(dut)*(double)(ref1));
				Y = ((double)(dut)*(double)(ref2));
				xf = A* X+(1-A)*xf;
				yf = A* Y+(1-A)*yf;
			}

		transmitdone=1;

		//HAL_ADCEx_MultiModeStart_DMA(&hadc1,(uint32_t*)&data,samples);

	}*/

	int newinput=0;
	if(Transfer_cplt!=0){
		switch(getRequest()){
			case 0:newinput= atoi(Rx_Buffer);break;
			case 1:pr("Lock-in Amplifier\n");sin_square=1;break;
			case 2:pr("Version 1.0.9\n");break;
			case 3:pr("Frequency is %d\n",100);break;
			case 4:;break;
			case 5:pr("Starting Generator\n");sweep0=0;break;
			case 6:pr("Stopping Generator\n");sweep1=0;break;

			default: break;
		}

		if(start==1 && channel==0){
				genInit0();
				start=0;
		}
		if(start==1 && channel==1){
			genInit1();
			start=0;
		}

		if(stop==1 && channel==0){
			genStop0();
			stop=0;
		}
		if(stop==1 && channel==1){
			genStop1();
			stop=0;
		}

		toggleSweep();
		setFrequency(newinput);
		setStep(newinput);
		setAmpl(newinput);
		setOffset(newinput);
		setSampleRate(newinput);
		setFiltr(newinput);

		if(measure==1){
			pr("MB\n\r");
			measure=0;
			xf=0;
			yf=0;
			dataready=0;
			adcintcountercheck=0;
			HAL_Delay(100);
			setADC(adcsamples);

		}
		setSweepMaxMin(newinput);
		newinput=0;
		//HAL_DAC_Start_DMA(&hdac1,DAC_CHANNEL_1, (uint32_t*)genBuffer1,bufferSize1, DAC_ALIGN_12B_R);
		if(printData==1 ){
			printData=0;
			//HAL_ADCEx_MultiModeStop_DMA(&hadc1);
			printADCOut();
		}
	}
	sweepUpdate();
	Transfer_cplt=0;
  }
  /* USER CODE END 3 */
}

void SystemClock_Config(void) // @suppress("Name convention for function")
{
  RCC_OscInitTypeDef RCC_OscInitStruct = {0};
  RCC_ClkInitTypeDef RCC_ClkInitStruct = {0};
  RCC_PeriphCLKInitTypeDef PeriphClkInit = {0};

  /** Initializes the CPU, AHB and APB busses clocks
  */
  RCC_OscInitStruct.OscillatorType = RCC_OSCILLATORTYPE_HSI;
  RCC_OscInitStruct.HSIState = RCC_HSI_ON;
  RCC_OscInitStruct.HSICalibrationValue = RCC_HSICALIBRATION_DEFAULT;
  RCC_OscInitStruct.PLL.PLLState = RCC_PLL_ON;
  RCC_OscInitStruct.PLL.PLLSource = RCC_PLLSOURCE_HSI;
  RCC_OscInitStruct.PLL.PLLMUL = RCC_PLL_MUL9;
  RCC_OscInitStruct.PLL.PREDIV = RCC_PREDIV_DIV1;
  if (HAL_RCC_OscConfig(&RCC_OscInitStruct) != HAL_OK)
  {
    Error_Handler();
  }
  /** Initializes the CPU, AHB and APB busses clocks
  */
  RCC_ClkInitStruct.ClockType = RCC_CLOCKTYPE_HCLK|RCC_CLOCKTYPE_SYSCLK
                              |RCC_CLOCKTYPE_PCLK1|RCC_CLOCKTYPE_PCLK2;
  RCC_ClkInitStruct.SYSCLKSource = RCC_SYSCLKSOURCE_PLLCLK;
  RCC_ClkInitStruct.AHBCLKDivider = RCC_SYSCLK_DIV1;
  RCC_ClkInitStruct.APB1CLKDivider = RCC_HCLK_DIV2;
  RCC_ClkInitStruct.APB2CLKDivider = RCC_HCLK_DIV1;

  if (HAL_RCC_ClockConfig(&RCC_ClkInitStruct, FLASH_LATENCY_2) != HAL_OK)
  {
    Error_Handler();
  }
  PeriphClkInit.PeriphClockSelection = RCC_PERIPHCLK_USART2|RCC_PERIPHCLK_TIM15
                              |RCC_PERIPHCLK_ADC12;
  PeriphClkInit.Usart2ClockSelection = RCC_USART2CLKSOURCE_PCLK1;
  PeriphClkInit.Adc12ClockSelection = RCC_ADC12PLLCLK_DIV1;
  PeriphClkInit.Tim15ClockSelection = RCC_TIM15CLK_HCLK;
  if (HAL_RCCEx_PeriphCLKConfig(&PeriphClkInit) != HAL_OK)
  {
    Error_Handler();
  }
}

void Error_Handler(void) // @suppress("Name convention for function")
{
  /* USER CODE BEGIN Error_Handler_Debug */
  /* User can add his own implementation to report the HAL error return state */

	pr("Error_Handler\n\r");
  /* USER CODE END Error_Handler_Debug */
}

#ifdef  USE_FULL_ASSERT
/**
  * @brief  Reports the name of the source file and the source line number
  *         where the assert_param error has occurred.
  * @param  file: pointer to the source file name
  * @param  line: assert_param error line source number
  * @retval None
  */
void assert_failed(uint8_t *file, uint32_t line)
{
  /* USER CODE BEGIN 6 */
	pr("assert_failed\n\r");
  /* User can add his own implementation to report the file name and line number,
     text: print("Wrong parameters value: file %s on line %d\r\n", file, line) */
  /* USER CODE END 6 */
}
#endif /* USE_FULL_ASSERT */

/************************ (C) COPYRIGHT STMicroelectronics *****END OF FILE****/
